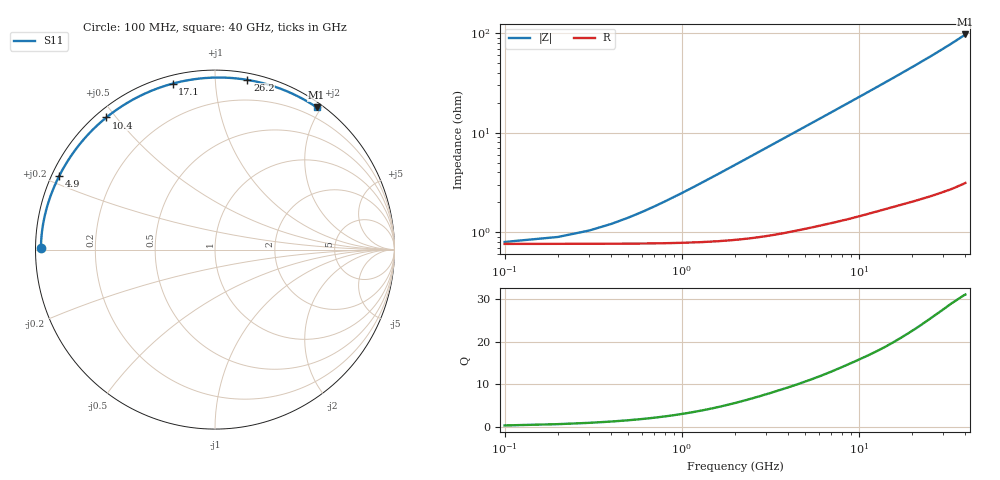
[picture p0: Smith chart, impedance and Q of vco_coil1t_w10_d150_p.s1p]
#  Hz  S  RI  R  50
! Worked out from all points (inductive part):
!   400 points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, 100 MHz to 40 GHz, reference 50 ohm
!   read as one part to ground: L = 372 pH near 1.1 GHz
!   highest Q = 31.1 at 40 GHz (marker M1), where L = 386 pH
!   S11 on the Smith chart (normalised r, x): 100 MHz: 0.02, +0.00; 4.9 GHz: 0.02, +0.23; 10.4 GHz: 0.03, +0.47; 17.1 GHz: 0.04, +0.78; 26.2 GHz: 0.05, +1.21; 40 GHz: 0.06, +1.94
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1e8  -0.9699 0.0091
1.2e9  -0.9629 0.1086
2.3e9  -0.9446 0.205
3.5e9  -0.914 0.3047
4.9e9  -0.8669 0.4123
5.1e9  -0.8594 0.4269
6.4e9  -0.8057 0.5167
7.6e9  -0.7501 0.5918
8.8e9  -0.69 0.6591
1.01e10  -0.6212 0.7231
1.04e10  -0.6049 0.7366
1.15e10  -0.5443 0.7819
1.27e10  -0.4774 0.8243
1.39e10  -0.4103 0.8599
1.51e10  -0.3439 0.8891
1.61e10  -0.2893 0.9089
1.71e10  -0.2357 0.9249
1.86e10  -0.1578 0.9425
2.01e10  -0.0832 0.9532
2.25e10  0.0284 0.9587
2.51e10  0.138 0.9517
2.62e10  0.1808 0.9456
2.81e10  0.25 0.9316
3.01e10  0.3165 0.9131
3.26e10  0.3912 0.8861
3.51e10  0.4575 0.856
3.75e10  0.5139 0.8255
4e10  0.5663 0.7927
